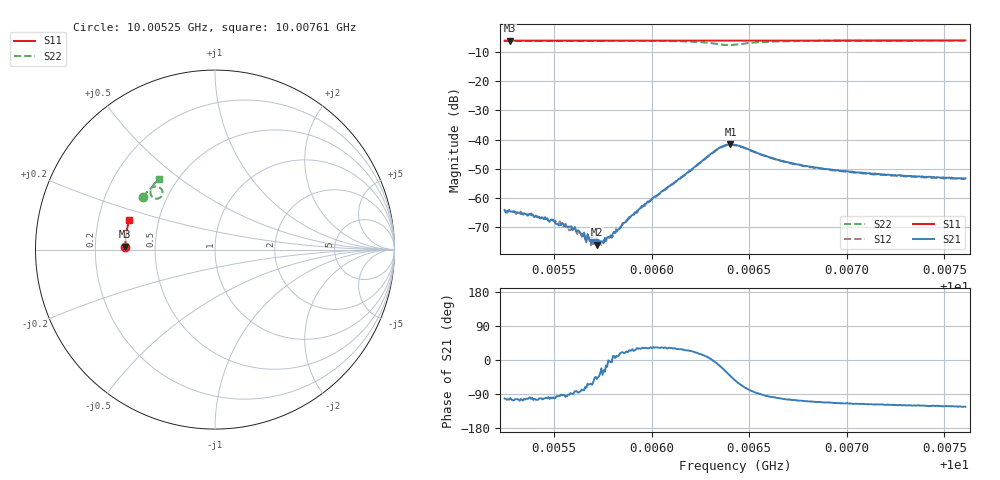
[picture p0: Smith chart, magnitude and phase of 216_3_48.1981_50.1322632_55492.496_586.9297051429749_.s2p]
#  HZ  S  RI  R  50.00
! Rohde & Schwarz Vector Network Analyzer
! Rohde-Schwarz,ZNB20-2Port,1311601062101988,3.16
! Created: UTC 3/20/2024, 11:45:45 AM
! freq[Hz]  re:S11  im:S11  re:S21  im:S21  re:S12  im:S12  re:S22  im:S22
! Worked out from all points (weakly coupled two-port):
!   401 points, 10.00525 GHz to 10.00761 GHz, reference 50 ohm
!   highest |S21| = -41.65 dB at 10.0064 GHz (marker M1); lowest = -76.0 dB at 10.00572 GHz (marker M2)
!   lowest |S11| = -6.0 dB at 10.00528 GHz (marker M3), VSWR 3.00, Z = 16.7 + j0.689 ohm
!   |S11| at or under -10 dB: nowhere
!   |S22| runs from -7.5 to -6.0 dB; largest |S21 - S12| = 0.00047
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1.0005247e10  -0.5001 0.0136  -0.000124 -0.000606  -0.000103 -0.000573  -0.4002 0.2924
1.0005277e10  -0.5 0.0155  -0.000106 -0.000571  -0.000119 -0.000566  -0.3989 0.2943
1.0005495e10  -0.4998 0.0297  -6.35e-05 -0.000416  -4.35e-05 -0.000404  -0.3898 0.3072
1.0005519e10  -0.4997 0.0313  -3.55e-05 -0.000359  -4.19e-05 -0.00036  -0.3887 0.3086
1.0005595e10  -0.4997 0.0362  4.89e-07 -0.000277  2.54e-05 -0.000287  -0.3851 0.3133
1.0005642e10  -0.4994 0.0393  4.94e-05 -0.000234  5.46e-05 -0.000206  -0.3828 0.3163
1.0005654e10  -0.4995 0.0402  4.59e-05 -0.000249  4.92e-05 -0.000224  -0.3824 0.3169
1.0005684e10  -0.4993 0.042  8.89e-05 -0.000179  6.76e-05 -0.000162  -0.3807 0.3188
1.0005696e10  -0.4992 0.0427  0.000101 -0.000218  0.000139 -0.000161  -0.3801 0.3196
1.0005719e10  -0.4993 0.0444  0.000101 -0.000121  0.000134 -0.000147  -0.3789 0.321
1.0005737e10  -0.4991 0.0455  0.000146 -0.000103  0.000136 -9.33e-05  -0.3779 0.3222
1.0005743e10  -0.499 0.0459  0.000166 -6.69e-05  0.000147 -5.07e-05  -0.3775 0.3224
1.000579e10  -0.4988 0.049  0.000217 -2.08e-05  0.000226 -1.01e-05  -0.3748 0.3256
1.0005878e10  -0.4985 0.0546  0.000399 0.000149  0.000374 0.000214  -0.3693 0.3314
1.0006038e10  -0.4975 0.065  0.000988 0.00063  0.000951 0.000652  -0.3561 0.3423
1.0006327e10  -0.4949 0.0836  0.0065 -0.000692  0.00633 -0.000377  -0.2951 0.3312
1.0006404e10  -0.494 0.0879  0.00612 -0.00555  0.00626 -0.00515  -0.3064 0.2896
1.0006427e10  -0.4939 0.0892  0.00482 -0.00656  0.00506 -0.00616  -0.3196 0.2841
1.0006645e10  -0.4924 0.1032  -0.000813 -0.00443  -0.000603 -0.00439  -0.3591 0.3271
1.0006822e10  -0.49 0.1145  -0.00114 -0.00318  -0.000982 -0.0032  -0.3516 0.3481
1.0007218e10  -0.4845 0.1395  -0.00117 -0.00218  -0.00102 -0.00219  -0.3309 0.375
1.0007607e10  -0.4777 0.1637  -0.00119 -0.00181  -0.00108 -0.0018  -0.3109 0.3946
